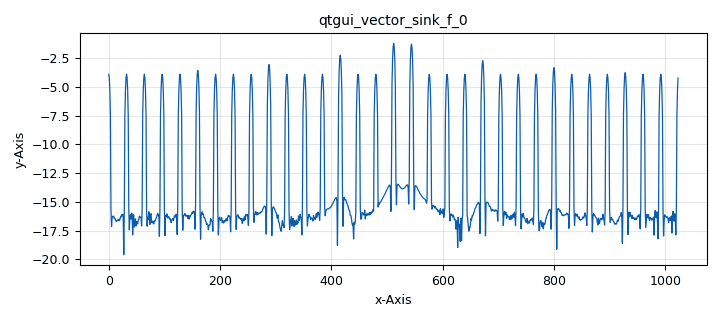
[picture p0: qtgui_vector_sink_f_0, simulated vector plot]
options:
  parameters:
    generate_options: qt_gui
    id: fft_generate
    output_language: python
    title: Not titled yet
  states: {}

blocks:
- name: rec_len
  id: variable
  parameters:
    value: '1024'
  states: {}
- name: samp_rate
  id: variable
  parameters:
    value: '32000'
  states: {}
- name: analog_sig_source_x_0
  id: analog_sig_source_x
  parameters:
    amp: '1'
    freq: '1000'
    offset: '0'
    phase: '0'
    samp_rate: samp_rate
    type: complex
    waveform: analog.GR_SQR_WAVE
  states: {}
- name: blocks_complex_to_mag_squared_0
  id: blocks_complex_to_mag_squared
  parameters:
    vlen: rec_len
  states: {}
- name: blocks_file_sink_0
  id: blocks_file_sink
  parameters:
    file: /tmp/fft.bit
    type: complex
    vlen: rec_len
  states: {state: disabled}
- name: blocks_multiply_const_xx_0
  id: blocks_multiply_const_xx
  parameters:
    const: '.000976562'
    type: complex
    vlen: '1024'
  states: {}
- name: blocks_nlog10_ff_0
  id: blocks_nlog10_ff
  parameters:
    k: '0'
    n: '1'
    vlen: '1024'
  states: {}
- name: blocks_stream_to_vector_0
  id: blocks_stream_to_vector
  parameters:
    num_items: rec_len
    type: complex
  states: {}
- name: blocks_throttle_0
  id: blocks_throttle
  parameters:
    samples_per_second: samp_rate
    type: complex
  states: {}
- name: fft_vxx_0
  id: fft_vxx
  parameters:
    fft_size: rec_len
    forward: 'True'
    shift: 'True'
    type: complex
    window: window.blackmanharris(1024)
  states: {}
- name: qtgui_vector_sink_f_0
  id: qtgui_vector_sink_f
  parameters:
    autoscale: 'True'
    vlen: '1024'
    x_start: '0'
    x_step: '1.0'
  states: {}

connections:
- [analog_sig_source_x_0, '0', blocks_throttle_0, '0']
- [blocks_complex_to_mag_squared_0, '0', blocks_nlog10_ff_0, '0']
- [blocks_multiply_const_xx_0, '0', blocks_complex_to_mag_squared_0, '0']
- [blocks_nlog10_ff_0, '0', qtgui_vector_sink_f_0, '0']
- [blocks_stream_to_vector_0, '0', fft_vxx_0, '0']
- [blocks_throttle_0, '0', blocks_stream_to_vector_0, '0']
- [fft_vxx_0, '0', blocks_file_sink_0, '0']
- [fft_vxx_0, '0', blocks_multiply_const_xx_0, '0']

metadata:
  file_format: 1
